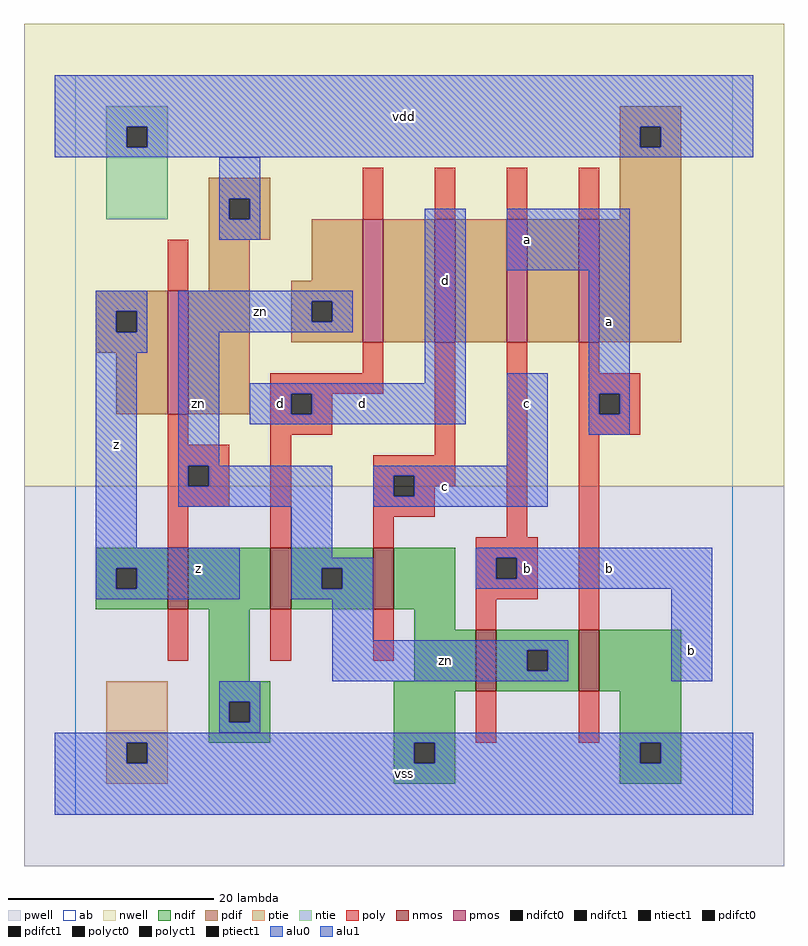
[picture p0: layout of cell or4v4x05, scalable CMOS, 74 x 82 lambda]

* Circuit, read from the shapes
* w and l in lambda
.subckt or4v4x05 a b c d vdd vss z zn
M1 vss zn z vss nfet w=6 l=2
M2 zn d vss vss nfet w=6 l=2
M3 vss c zn vss nfet w=6 l=2
M4 zn b vss vss nfet w=6 l=2
M5 vss a zn vss nfet w=6 l=2
M6 vdd zn z vdd pfet w=12 l=2
M7 n1 d zn vdd pfet w=12 l=2
M8 n2 c n1 vdd pfet w=12 l=2
M9 n3 b n2 vdd pfet w=12 l=2
M10 vdd a n3 vdd pfet w=12 l=2
.ends

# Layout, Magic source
magic
tech scmos
<< ab >>
rect 0 0 64 72
<< nwell >>
rect -5 32 69 77
<< pwell >>
rect -5 -5 69 32
<< poly >>
rect 28 58 30 63
rect 35 58 37 63
rect 42 58 44 63
rect 49 58 51 63
rect 9 51 11 56
rect 28 43 30 46
rect 19 41 30 43
rect 19 39 21 41
rect 23 39 25 41
rect 9 36 11 39
rect 19 37 25 39
rect 9 34 15 36
rect 9 32 11 34
rect 13 32 15 34
rect 9 30 15 32
rect 9 26 11 30
rect 19 26 21 37
rect 35 35 37 46
rect 29 33 37 35
rect 29 31 31 33
rect 33 32 37 33
rect 33 31 35 32
rect 29 29 35 31
rect 29 26 31 29
rect 42 27 44 46
rect 49 43 51 46
rect 49 41 55 43
rect 49 39 51 41
rect 53 39 55 41
rect 49 37 55 39
rect 9 15 11 20
rect 19 15 21 20
rect 29 15 31 20
rect 39 25 45 27
rect 39 23 41 25
rect 43 23 45 25
rect 39 21 45 23
rect 39 18 41 21
rect 49 18 51 37
rect 39 7 41 12
rect 49 7 51 12
<< ndif >>
rect 2 24 9 26
rect 2 22 4 24
rect 6 22 9 24
rect 2 20 9 22
rect 11 20 19 26
rect 21 24 29 26
rect 21 22 24 24
rect 26 22 29 24
rect 21 20 29 22
rect 31 20 37 26
rect 13 13 17 20
rect 33 18 37 20
rect 33 13 39 18
rect 13 11 19 13
rect 13 9 15 11
rect 17 9 19 11
rect 13 7 19 9
rect 31 12 39 13
rect 41 16 49 18
rect 41 14 44 16
rect 46 14 49 16
rect 41 12 49 14
rect 51 12 59 18
rect 31 7 37 12
rect 53 7 59 12
rect 31 5 33 7
rect 35 5 37 7
rect 31 3 37 5
rect 53 5 55 7
rect 57 5 59 7
rect 53 3 59 5
<< pdif >>
rect 53 67 59 69
rect 53 65 55 67
rect 57 65 59 67
rect 13 60 19 62
rect 13 58 15 60
rect 17 58 19 60
rect 53 58 59 65
rect 13 56 19 58
rect 13 51 17 56
rect 23 52 28 58
rect 2 49 9 51
rect 2 47 4 49
rect 6 47 9 49
rect 2 45 9 47
rect 4 39 9 45
rect 11 39 17 51
rect 21 50 28 52
rect 21 48 23 50
rect 25 48 28 50
rect 21 46 28 48
rect 30 46 35 58
rect 37 46 42 58
rect 44 46 49 58
rect 51 46 59 58
<< alu1 >>
rect -2 67 66 72
rect -2 65 5 67
rect 7 65 55 67
rect 57 65 66 67
rect -2 64 66 65
rect 2 49 7 51
rect 2 47 4 49
rect 6 47 7 49
rect 2 45 7 47
rect 2 26 6 45
rect 34 42 38 59
rect 42 53 54 59
rect 17 41 38 42
rect 17 39 21 41
rect 23 39 38 41
rect 17 38 38 39
rect 42 34 46 43
rect 50 41 54 53
rect 50 39 51 41
rect 53 39 54 41
rect 50 37 54 39
rect 29 33 46 34
rect 29 31 31 33
rect 33 31 46 33
rect 29 30 46 31
rect 2 24 16 26
rect 2 22 4 24
rect 6 22 16 24
rect 2 21 16 22
rect 39 25 62 26
rect 39 23 41 25
rect 43 23 62 25
rect 39 22 62 23
rect 58 13 62 22
rect -2 7 66 8
rect -2 5 5 7
rect 7 5 33 7
rect 35 5 55 7
rect 57 5 66 7
rect -2 0 66 5
<< ptie >>
rect 3 7 9 13
rect 3 5 5 7
rect 7 5 9 7
rect 3 3 9 5
<< ntie >>
rect 3 67 9 69
rect 3 65 5 67
rect 7 65 9 67
rect 3 58 9 65
<< nmos >>
rect 9 20 11 26
rect 19 20 21 26
rect 29 20 31 26
rect 39 12 41 18
rect 49 12 51 18
<< pmos >>
rect 9 39 11 51
rect 28 46 30 58
rect 35 46 37 58
rect 42 46 44 58
rect 49 46 51 58
<< polyct0 >>
rect 11 32 13 34
<< polyct1 >>
rect 21 39 23 41
rect 31 31 33 33
rect 51 39 53 41
rect 41 23 43 25
<< ndifct0 >>
rect 24 22 26 24
rect 15 9 17 11
rect 44 14 46 16
<< ndifct1 >>
rect 4 22 6 24
rect 33 5 35 7
rect 55 5 57 7
<< ntiect1 >>
rect 5 65 7 67
<< ptiect1 >>
rect 5 5 7 7
<< pdifct0 >>
rect 15 58 17 60
rect 23 48 25 50
<< pdifct1 >>
rect 55 65 57 67
rect 4 47 6 49
<< alu0 >>
rect 14 60 18 64
rect 14 58 15 60
rect 17 58 18 60
rect 14 56 18 58
rect 10 50 27 51
rect 10 48 23 50
rect 25 48 27 50
rect 10 47 27 48
rect 10 34 14 47
rect 10 32 11 34
rect 13 32 25 34
rect 10 30 25 32
rect 21 25 25 30
rect 21 24 29 25
rect 21 22 24 24
rect 26 22 29 24
rect 21 21 29 22
rect 25 17 29 21
rect 25 16 48 17
rect 25 14 44 16
rect 46 14 48 16
rect 25 13 48 14
rect 14 11 18 13
rect 14 9 15 11
rect 17 9 18 11
rect 14 8 18 9
<< labels >>
rlabel alu0 12 40 12 40 6 zn
rlabel alu0 18 49 18 49 6 zn
rlabel alu0 36 15 36 15 6 zn
rlabel alu1 12 24 12 24 6 z
rlabel alu1 4 36 4 36 6 z
rlabel alu1 20 40 20 40 6 d
rlabel alu1 28 40 28 40 6 d
rlabel alu1 32 4 32 4 6 vss
rlabel alu1 36 32 36 32 6 c
rlabel alu1 44 24 44 24 6 b
rlabel alu1 44 40 44 40 6 c
rlabel alu1 36 52 36 52 6 d
rlabel alu1 44 56 44 56 6 a
rlabel alu1 32 68 32 68 6 vdd
rlabel alu1 60 16 60 16 6 b
rlabel alu1 52 24 52 24 6 b
rlabel alu1 52 48 52 48 6 a
<< end >>
